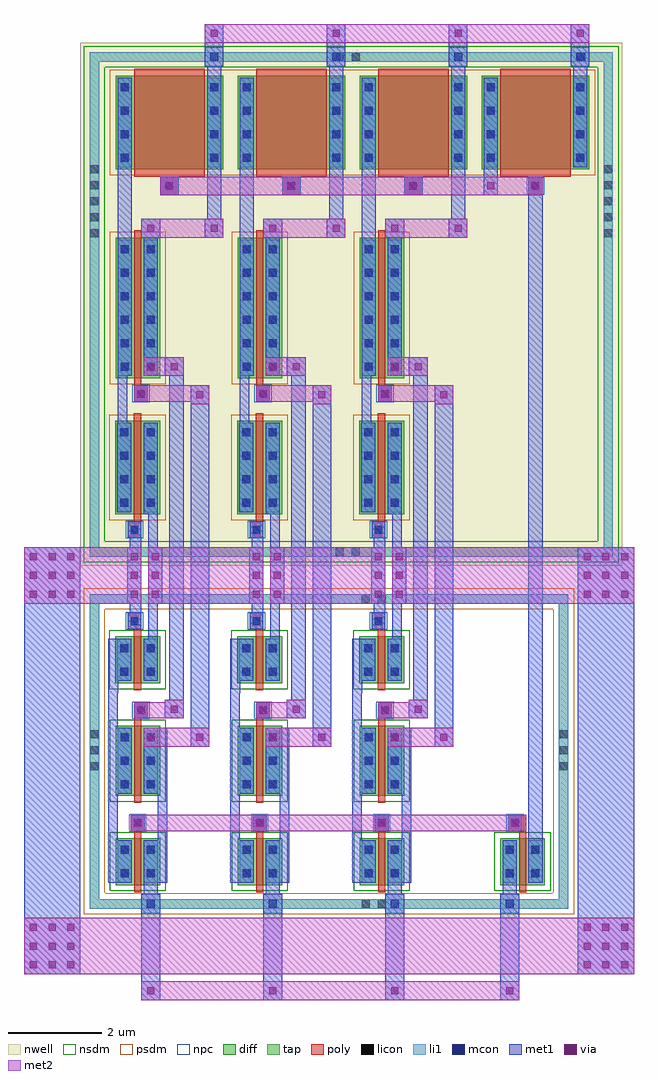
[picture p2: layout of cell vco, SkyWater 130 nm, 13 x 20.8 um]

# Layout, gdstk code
import gdstk
lib = gdstk.Library(unit=1e-6, precision=1e-09)
def R(c, l, rs):  # rectangles x0, y0, x1, y1
    for r in rs: c.add(gdstk.rectangle(r[:2], r[2:], *l))
def A(c, l, x, y, w, h, nx, ny, dx, dy):  # array of equal rectangles
    R(c, l, [(x+i*dx, y+j*dy, x+i*dx+w, y+j*dy+h) for i in range(nx) for j in range(ny)])
nwell = (64, 20)
diff = (65, 20)
tap = (65, 44)
poly = (66, 20)
licon = (66, 44)
li1 = (67, 20)
mcon = (67, 44)
met1 = (68, 20)
via = (68, 44)
met2 = (69, 20)
nsdm = (93, 44)
psdm = (94, 20)
npc = (95, 20)

vco = lib.new_cell('vco')
R(vco, nwell, [(215.25,16.7,226.8,27.85)])
A(vco, diff, 216, 9.9, 0.95, 1, 3, 1, 2.6, 0)
A(vco, diff, 216, 11.8, 0.95, 1.5, 3, 1, 2.6, 0)
A(vco, diff, 215.99, 14.2, 0.96, 1, 3, 1, 2.6, 0)
A(vco, diff, 215.99, 17.8, 0.96, 2, 3, 1, 2.6, 0)
A(vco, diff, 216, 20.7, 0.95, 3, 3, 1, 2.6, 0)
A(vco, diff, 216, 25.15, 2.3, 2, 4, 1, 2.6, 0)
R(vco, diff, [(224.2,9.9,225.15,10.9)])
R(vco, tap, [(215.45,9.4,225.65,9.6), (215.45,9.6,215.65,15.9), (225.45,9.6,225.65,15.9), (215.45,15.9,225.65,16.1), (215.45,16.9,226.6,17.1), (215.45,17.1,215.65,27.45), (226.4,17.1,226.6,27.45), (215.45,27.45,226.6,27.65)])
A(vco, poly, 216.4, 9.75, 0.15, 1.3, 3, 1, 2.6, 0)
A(vco, poly, 216.33, 11.05, 0.29, 0.35, 3, 1, 2.6, 0)
A(vco, poly, 216.4, 11.65, 0.15, 1.8, 3, 1, 2.6, 0)
A(vco, poly, 216.4, 13.45, 0.29, 0.35, 3, 2, 2.6, 6.75)
A(vco, poly, 216.39, 14.05, 0.16, 1.3, 3, 1, 2.6, 0)
A(vco, poly, 216.26, 15.35, 0.29, 0.35, 3, 2, 2.6, 1.95)
A(vco, poly, 216.39, 17.65, 0.16, 2.3, 3, 1, 2.6, 0)
A(vco, poly, 216.4, 20.55, 0.15, 3.3, 3, 1, 2.6, 0)
A(vco, poly, 216.95, 24.6, 0.4, 0.4, 3, 1, 2.6, 0)
A(vco, poly, 216.4, 25, 1.5, 2.3, 4, 1, 2.6, 0)
R(vco, poly, [(224.6,9.75,224.75,11.05), (224.37,11.05,224.75,11.4), (224.8,24.6,225.1,25)])
A(vco, licon, 216.39, 11.14, 0.17, 0.17, 3, 1, 2.6, 0)
A(vco, licon, 216.115, 11.965, 0.17, 0.17, 1, 3, 0, 0.5)
A(vco, licon, 216.665, 11.965, 0.17, 0.17, 1, 3, 0, 0.5)
A(vco, licon, 218.715, 11.965, 0.17, 0.17, 1, 3, 0, 0.5)
A(vco, licon, 219.265, 11.965, 0.17, 0.17, 1, 3, 0, 0.5)
A(vco, licon, 221.315, 11.965, 0.17, 0.17, 1, 3, 0, 0.5)
A(vco, licon, 221.865, 11.965, 0.17, 0.17, 1, 3, 0, 0.5)
A(vco, licon, 215.465, 12.35, 0.17, 0.17, 1, 3, 0, 0.34)
A(vco, licon, 225.465, 12.35, 0.17, 0.17, 1, 3, 0, 0.34)
A(vco, licon, 216.46, 13.54, 0.17, 0.17, 3, 2, 2.6, 6.75)
A(vco, licon, 216.32, 15.44, 0.17, 0.17, 3, 2, 2.6, 1.95)
A(vco, licon, 216.105, 17.965, 0.17, 0.17, 1, 4, 0, 0.5)
A(vco, licon, 216.665, 17.965, 0.17, 0.17, 1, 4, 0, 0.5)
A(vco, licon, 218.705, 17.965, 0.17, 0.17, 1, 4, 0, 0.5)
A(vco, licon, 219.265, 17.965, 0.17, 0.17, 1, 4, 0, 0.5)
A(vco, licon, 221.305, 17.965, 0.17, 0.17, 1, 4, 0, 0.5)
A(vco, licon, 221.865, 17.965, 0.17, 0.17, 1, 4, 0, 0.5)
A(vco, licon, 216.115, 20.865, 0.17, 0.17, 1, 6, 0, 0.5)
A(vco, licon, 216.665, 20.865, 0.17, 0.17, 1, 6, 0, 0.5)
A(vco, licon, 218.715, 20.865, 0.17, 0.17, 1, 6, 0, 0.5)
A(vco, licon, 219.265, 20.865, 0.17, 0.17, 1, 6, 0, 0.5)
A(vco, licon, 221.315, 20.865, 0.17, 0.17, 1, 6, 0, 0.5)
A(vco, licon, 221.865, 20.865, 0.17, 0.17, 1, 6, 0, 0.5)
A(vco, licon, 215.465, 23.71, 0.17, 0.17, 1, 5, 0, 0.34)
A(vco, licon, 226.415, 23.71, 0.17, 0.17, 1, 5, 0, 0.34)
A(vco, licon, 217.065, 24.715, 0.17, 0.17, 4, 1, 2.6, 0)
A(vco, licon, 216.115, 25.315, 0.17, 0.17, 1, 4, 0, 0.5)
A(vco, licon, 218.015, 25.315, 0.17, 0.17, 1, 4, 0, 0.5)
A(vco, licon, 218.715, 25.315, 0.17, 0.17, 1, 4, 0, 0.5)
A(vco, licon, 220.615, 25.315, 0.17, 0.17, 1, 4, 0, 0.5)
A(vco, licon, 221.315, 25.315, 0.17, 0.17, 1, 4, 0, 0.5)
A(vco, licon, 223.215, 25.315, 0.17, 0.17, 1, 4, 0, 0.5)
A(vco, licon, 223.915, 25.315, 0.17, 0.17, 1, 4, 0, 0.5)
A(vco, licon, 225.815, 25.315, 0.17, 0.17, 1, 4, 0, 0.5)
R(vco, licon, [(221.245,9.415,221.415,9.585), (221.585,9.415,221.755,9.585), (216.115,10.065,216.285,10.235), (216.665,10.065,216.835,10.235), (218.715,10.065,218.885,10.235), (219.265,10.065,219.435,10.235), (221.315,10.065,221.485,10.235), (221.865,10.065,222.035,10.235), (224.315,10.065,224.485,10.235), (224.865,10.065,225.035,10.235), (216.115,10.565,216.285,10.735), (216.665,10.565,216.835,10.735), (218.715,10.565,218.885,10.735), (219.265,10.565,219.435,10.735), (221.315,10.565,221.485,10.735), (221.865,10.565,222.035,10.735), (224.315,10.565,224.485,10.735), (224.865,10.565,225.035,10.735), (224.43,11.14,224.6,11.31), (216.105,14.365,216.275,14.535), (216.665,14.365,216.835,14.535), (218.705,14.365,218.875,14.535), (219.265,14.365,219.435,14.535), (221.305,14.365,221.475,14.535), (221.865,14.365,222.035,14.535), (216.105,14.865,216.275,15.035), (216.665,14.865,216.835,15.035), (218.705,14.865,218.875,15.035), (219.265,14.865,219.435,15.035), (221.305,14.865,221.475,15.035), (221.865,14.865,222.035,15.035), (221.245,15.915,221.415,16.085), (221.585,15.915,221.755,16.085), (220.695,16.915,220.865,17.085), (221.035,16.915,221.205,17.085), (220.695,27.465,220.865,27.635), (221.035,27.465,221.205,27.635), (225.84,27.465,226.01,27.635)])
A(vco, li1, 216.55, 9.3, 0.4, 0.1, 3, 2, 2.6, 0.3)
A(vco, li1, 216.33, 11.05, 0.29, 0.35, 3, 1, 2.6, 0)
A(vco, li1, 216.4, 13.45, 0.29, 0.35, 3, 2, 2.6, 6.75)
A(vco, li1, 216.26, 15.35, 0.29, 0.35, 3, 2, 2.6, 1.95)
A(vco, li1, 216.95, 24.6, 0.4, 0.4, 3, 1, 2.6, 0)
A(vco, li1, 217.9, 27.35, 0.4, 0.1, 4, 2, 2.6, 0.3)
R(vco, li1, [(224.2,9.3,224.6,9.4), (215.45,9.4,225.65,9.6), (215.45,9.6,215.65,15.9), (224.2,9.6,224.6,9.7), (225.45,9.6,225.65,15.9), (216.05,9.95,216.35,10.85), (216.6,9.95,216.9,10.85), (218.65,9.95,218.95,10.85), (219.2,9.95,219.5,10.85), (221.25,9.95,221.55,10.85), (221.8,9.95,222.1,10.85), (224.25,9.95,224.55,10.85), (224.8,9.95,225.1,10.85), (224.37,11.05,224.66,11.4), (216.05,11.85,216.35,13.25), (216.6,11.85,216.9,13.25), (218.65,11.85,218.95,13.25), (219.2,11.85,219.5,13.25), (221.25,11.85,221.55,13.25), (221.8,11.85,222.1,13.25), (216.04,14.25,216.34,15.15), (216.6,14.25,216.9,15.15), (218.64,14.25,218.94,15.15), (219.2,14.25,219.5,15.15), (221.24,14.25,221.54,15.15), (221.8,14.25,222.1,15.15), (215.45,15.9,225.65,16.1), (215.45,16.9,226.6,17.1), (215.45,17.1,215.65,27.45), (226.4,17.1,226.6,27.45), (216.04,17.85,216.34,19.75), (216.6,17.85,216.9,19.75), (218.64,17.85,218.94,19.75), (219.2,17.85,219.5,19.75), (221.24,17.85,221.54,19.75), (221.8,17.85,222.1,19.75), (216.05,20.75,216.35,23.65), (216.6,20.75,216.9,23.65), (218.65,20.75,218.95,23.65), (219.2,20.75,219.5,23.65), (221.25,20.75,221.55,23.65), (221.8,20.75,222.1,23.65), (224.8,24.6,225.1,25), (216.05,25.2,216.35,27.1), (217.95,25.2,218.25,27.1), (218.65,25.2,218.95,27.1), (220.55,25.2,220.85,27.1), (221.25,25.2,221.55,27.1), (223.15,25.2,223.45,27.1), (223.85,25.2,224.15,27.1), (225.75,25.2,226.05,27.1), (215.45,27.45,226.6,27.65)])
A(vco, mcon, 216.665, 9.415, 0.17, 0.17, 3, 1, 2.6, 0)
A(vco, mcon, 216.39, 11.14, 0.17, 0.17, 3, 1, 2.6, 0)
A(vco, mcon, 216.115, 11.965, 0.17, 0.17, 1, 3, 0, 0.5)
A(vco, mcon, 216.665, 11.965, 0.17, 0.17, 1, 3, 0, 0.5)
A(vco, mcon, 218.715, 11.965, 0.17, 0.17, 1, 3, 0, 0.5)
A(vco, mcon, 219.265, 11.965, 0.17, 0.17, 1, 3, 0, 0.5)
A(vco, mcon, 221.315, 11.965, 0.17, 0.17, 1, 3, 0, 0.5)
A(vco, mcon, 221.865, 11.965, 0.17, 0.17, 1, 3, 0, 0.5)
A(vco, mcon, 216.46, 13.54, 0.17, 0.17, 3, 2, 2.6, 6.75)
A(vco, mcon, 216.32, 15.44, 0.17, 0.17, 3, 2, 2.6, 1.95)
A(vco, mcon, 216.105, 17.965, 0.17, 0.17, 1, 4, 0, 0.5)
A(vco, mcon, 216.665, 17.965, 0.17, 0.17, 1, 4, 0, 0.5)
A(vco, mcon, 218.705, 17.965, 0.17, 0.17, 1, 4, 0, 0.5)
A(vco, mcon, 219.265, 17.965, 0.17, 0.17, 1, 4, 0, 0.5)
A(vco, mcon, 221.305, 17.965, 0.17, 0.17, 1, 4, 0, 0.5)
A(vco, mcon, 221.865, 17.965, 0.17, 0.17, 1, 4, 0, 0.5)
A(vco, mcon, 216.115, 20.865, 0.17, 0.17, 1, 6, 0, 0.5)
A(vco, mcon, 216.665, 20.865, 0.17, 0.17, 1, 6, 0, 0.5)
A(vco, mcon, 218.715, 20.865, 0.17, 0.17, 1, 6, 0, 0.5)
A(vco, mcon, 219.265, 20.865, 0.17, 0.17, 1, 6, 0, 0.5)
A(vco, mcon, 221.315, 20.865, 0.17, 0.17, 1, 6, 0, 0.5)
A(vco, mcon, 221.865, 20.865, 0.17, 0.17, 1, 6, 0, 0.5)
A(vco, mcon, 217.065, 24.715, 0.17, 0.17, 4, 1, 2.6, 0)
A(vco, mcon, 216.115, 25.315, 0.17, 0.17, 1, 4, 0, 0.5)
A(vco, mcon, 218.015, 25.315, 0.17, 0.17, 1, 4, 0, 0.5)
A(vco, mcon, 218.715, 25.315, 0.17, 0.17, 1, 4, 0, 0.5)
A(vco, mcon, 220.615, 25.315, 0.17, 0.17, 1, 4, 0, 0.5)
A(vco, mcon, 221.315, 25.315, 0.17, 0.17, 1, 4, 0, 0.5)
A(vco, mcon, 223.215, 25.315, 0.17, 0.17, 1, 4, 0, 0.5)
A(vco, mcon, 223.915, 25.315, 0.17, 0.17, 1, 4, 0, 0.5)
A(vco, mcon, 225.815, 25.315, 0.17, 0.17, 1, 4, 0, 0.5)
A(vco, mcon, 218.015, 27.465, 0.17, 0.17, 4, 1, 2.6, 0)
R(vco, mcon, [(224.315,9.415,224.485,9.585), (216.115,10.065,216.285,10.235), (216.665,10.065,216.835,10.235), (218.715,10.065,218.885,10.235), (219.265,10.065,219.435,10.235), (221.315,10.065,221.485,10.235), (221.865,10.065,222.035,10.235), (224.315,10.065,224.485,10.235), (224.865,10.065,225.035,10.235), (216.115,10.565,216.285,10.735), (216.665,10.565,216.835,10.735), (218.715,10.565,218.885,10.735), (219.265,10.565,219.435,10.735), (221.315,10.565,221.485,10.735), (221.865,10.565,222.035,10.735), (224.315,10.565,224.485,10.735), (224.865,10.565,225.035,10.735), (224.43,11.14,224.6,11.31), (216.105,14.365,216.275,14.535), (216.665,14.365,216.835,14.535), (218.705,14.365,218.875,14.535), (219.265,14.365,219.435,14.535), (221.305,14.365,221.475,14.535), (221.865,14.365,222.035,14.535), (216.105,14.865,216.275,15.035), (216.665,14.865,216.835,15.035), (218.705,14.865,218.875,15.035), (219.265,14.865,219.435,15.035), (221.305,14.865,221.475,15.035), (221.865,14.865,222.035,15.035)])
A(vco, met1, 216.55, 7.45, 0.4, 2.25, 3, 1, 2.6, 0)
A(vco, met1, 216.6, 9.7, 0.3, 0.25, 3, 1, 2.6, 0)
A(vco, met1, 216.33, 11.05, 0.29, 0.35, 3, 1, 2.6, 0)
A(vco, met1, 217.6, 12.85, 0.4, 7.7, 3, 1, 2.6, 0)
A(vco, met1, 215.85, 13.25, 0.2, 0.75, 3, 1, 2.6, 0)
A(vco, met1, 216.4, 13.45, 0.29, 0.35, 3, 2, 2.6, 6.75)
A(vco, met1, 217.05, 13.45, 0.4, 0.4, 3, 2, 2.6, 7.3)
A(vco, met1, 217.15, 13.85, 0.3, 6.9, 3, 1, 2.6, 0)
A(vco, met1, 215.85, 14, 0.21, 0.25, 3, 1, 2.6, 0)
A(vco, met1, 215.85, 14.25, 0.49, 0.9, 3, 1, 2.6, 0)
A(vco, met1, 216.6, 14.25, 0.3, 0.9, 3, 1, 2.6, 0)
A(vco, met1, 216.7, 15.15, 0.2, 0.75, 3, 1, 2.6, 0)
A(vco, met1, 216.26, 15.35, 0.29, 0.35, 3, 2, 2.6, 1.95)
A(vco, met1, 216.3, 15.7, 0.25, 0.2, 3, 2, 2.6, 1.4)
A(vco, met1, 216.7, 17.1, 0.2, 0.7, 3, 1, 2.6, 0)
A(vco, met1, 216.6, 17.8, 0.3, 1.95, 3, 1, 2.6, 0)
A(vco, met1, 216.04, 17.85, 0.3, 1.9, 3, 1, 2.6, 0)
A(vco, met1, 216.05, 19.75, 0.2, 1, 3, 1, 2.6, 0)
A(vco, met1, 216.05, 20.75, 0.3, 6.35, 3, 1, 2.6, 0)
A(vco, met1, 216.6, 20.75, 0.3, 2.95, 3, 1, 2.6, 0)
A(vco, met1, 217.95, 24.1, 0.3, 3.25, 3, 1, 2.6, 0)
A(vco, met1, 216.95, 24.6, 0.4, 0.4, 3, 1, 2.6, 0)
A(vco, met1, 217.9, 27.35, 0.4, 0.9, 4, 1, 2.6, 0)
R(vco, met1, [(224.2,7.45,224.6,9.7), (214.05,8,215.25,17.1), (225.85,8,227.05,17.1), (224.25,9.7,224.55,10.85), (215.85,9.95,216.35,10.85), (216.6,9.95,217.1,10.85), (218.45,9.95,218.95,10.85), (219.2,9.95,219.7,10.85), (221.05,9.95,221.55,10.85), (221.8,9.95,222.3,10.85), (224.8,9.95,225.1,25), (215.85,10.85,216.05,11.85), (216.9,10.85,217.1,11.85), (218.45,10.85,218.65,11.85), (219.5,10.85,219.7,11.85), (221.05,10.85,221.25,11.85), (222.1,10.85,222.3,11.85), (224.37,11.05,224.66,11.4), (215.85,11.85,216.35,13.25), (216.6,11.85,217.1,13.25), (218.45,11.85,218.95,13.25), (219.2,11.85,219.7,13.25), (221.05,11.85,221.55,13.25), (221.8,11.85,222.3,13.25), (216.25,15.9,216.55,17.1), (216.7,15.9,217,17.1), (218.85,15.9,219.15,17.1), (219.3,15.9,219.6,17.1), (221.45,15.9,221.75,17.1), (221.9,15.9,222.2,17.1), (216.55,23.7,216.95,24.1), (217.9,23.7,218.3,24.1), (219.15,23.7,219.55,24.1), (220.5,23.7,220.9,24.1), (221.75,23.7,222.15,24.1), (223.1,23.7,223.5,24.1), (223.85,24.6,224.15,27.1), (225.75,25.2,226.05,27.35)])
A(vco, via, 216.675, 7.575, 0.15, 0.15, 3, 1, 2.6, 0)
A(vco, via, 214.175, 8.125, 0.15, 0.15, 3, 3, 0.4, 0.4)
A(vco, via, 225.975, 8.125, 0.15, 0.15, 3, 3, 0.4, 0.4)
A(vco, via, 216.405, 11.145, 0.15, 0.15, 3, 1, 2.6, 0)
A(vco, via, 216.475, 13.545, 0.15, 0.15, 3, 2, 2.6, 6.75)
A(vco, via, 217.175, 13.575, 0.15, 0.15, 3, 1, 2.6, 0)
A(vco, via, 214.175, 16.025, 0.15, 0.15, 3, 3, 0.4, 0.4)
A(vco, via, 216.325, 16.025, 0.15, 0.15, 1, 3, 0, 0.4)
A(vco, via, 216.775, 16.025, 0.15, 0.15, 1, 3, 0, 0.4)
A(vco, via, 218.925, 16.025, 0.15, 0.15, 1, 3, 0, 0.4)
A(vco, via, 219.375, 16.025, 0.15, 0.15, 1, 3, 0, 0.4)
A(vco, via, 221.525, 16.025, 0.15, 0.15, 1, 3, 0, 0.4)
A(vco, via, 221.975, 16.025, 0.15, 0.15, 1, 3, 0, 0.4)
A(vco, via, 225.975, 16.025, 0.15, 0.15, 3, 3, 0.4, 0.4)
A(vco, via, 217.725, 20.275, 0.15, 0.15, 3, 1, 2.6, 0)
A(vco, via, 217.075, 24.725, 0.15, 0.15, 3, 1, 2.6, 0)
A(vco, via, 218.025, 27.975, 0.15, 0.15, 4, 1, 2.6, 0)
R(vco, via, [(224.325,7.575,224.475,7.725), (224.435,11.145,224.585,11.295), (216.675,12.975,216.825,13.125), (217.725,12.975,217.875,13.125), (219.275,12.975,219.425,13.125), (220.325,12.975,220.475,13.125), (221.875,12.975,222.025,13.125), (222.925,12.975,223.075,13.125), (216.675,20.875,216.825,21.025), (217.175,20.875,217.325,21.025), (219.275,20.875,219.425,21.025), (219.775,20.875,219.925,21.025), (221.875,20.875,222.025,21.025), (222.375,20.875,222.525,21.025), (216.675,23.825,216.825,23.975), (218.025,23.825,218.175,23.975), (219.275,23.825,219.425,23.975), (220.625,23.825,220.775,23.975), (221.875,23.825,222.025,23.975), (223.225,23.825,223.375,23.975), (223.925,24.725,224.075,24.875), (224.875,24.725,225.025,24.875)])
A(vco, met2, 216.6, 12.85, 1.4, 0.4, 3, 1, 2.6, 0)
A(vco, met2, 216.4, 13.45, 1.05, 0.35, 3, 1, 2.6, 0)
A(vco, met2, 217.05, 13.8, 0.4, 0.05, 3, 1, 2.6, 0)
A(vco, met2, 217.6, 20.15, 0.4, 0.05, 3, 1, 2.6, 0)
A(vco, met2, 216.4, 20.2, 1.6, 0.35, 3, 1, 2.6, 0)
A(vco, met2, 216.6, 20.75, 0.85, 0.4, 3, 1, 2.6, 0)
A(vco, met2, 216.55, 23.7, 1.75, 0.4, 3, 1, 2.6, 0)
R(vco, met2, [(216.55,7.45,224.6,7.85), (214.05,8,227.05,9.2), (216.325,11.05,224.75,11.4), (214.05,15.9,216.55,17.1), (216.7,15.9,219.15,17.1), (219.3,15.9,221.75,17.1), (221.9,15.9,227.05,17.1), (216.95,24.6,225.1,25), (217.9,27.85,226.1,28.25)])
A(vco, nsdm, 215.875, 9.775, 1.2, 1.25, 3, 1, 2.6, 0)
A(vco, nsdm, 215.875, 11.675, 1.2, 1.75, 3, 1, 2.6, 0)
A(vco, nsdm, 215.865, 14.075, 1.21, 1.25, 3, 1, 2.6, 0)
R(vco, nsdm, [(224.075,9.775,225.275,11.025), (215.325,16.775,226.725,17.225), (215.325,17.225,215.775,27.325), (226.275,17.225,226.725,27.325), (215.325,27.325,226.725,27.775)])
A(vco, psdm, 215.865, 17.675, 1.21, 2.25, 3, 1, 2.6, 0)
A(vco, psdm, 215.875, 20.575, 1.2, 3.25, 3, 1, 2.6, 0)
R(vco, psdm, [(215.325,9.275,225.775,9.725), (215.325,9.725,215.775,15.775), (225.325,9.725,225.775,15.775), (215.325,15.775,225.775,16.225), (215.875,25.025,226.225,27.275)])
A(vco, npc, 216.29, 11.04, 0.37, 0.37, 3, 1, 2.6, 0)
A(vco, npc, 216.36, 13.44, 0.37, 0.37, 3, 2, 2.6, 6.75)
A(vco, npc, 216.22, 15.34, 0.37, 0.37, 3, 2, 2.6, 1.95)
A(vco, npc, 216.965, 24.615, 0.37, 0.37, 4, 1, 2.6, 0)
R(vco, npc, [(224.33,11.04,224.7,11.41)])

lib.write_gds('vco.gds')
